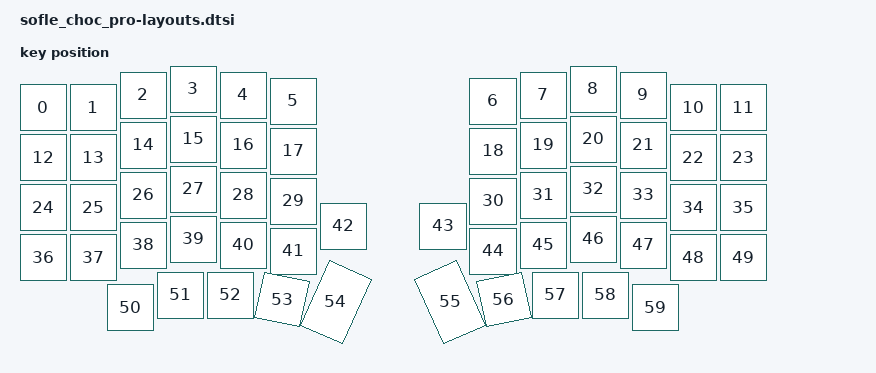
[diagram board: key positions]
#include <physical_layouts.dtsi>

/ {
    sofle_choc_pro_position_map {
        compatible = "zmk,physical-layout-position-map";
        complete;

        default_map: default_map {
            physical-layout = <&default_layout>;
            positions
                = < 0  1  2  3  4  5        6  7  8  9 10 11>
                , <12 13 14 15 16 17       18 19 20 21 22 23>
                , <24 25 26 27 28 29       30 31 32 33 34 35>
                , <36 37 38 39 40 41 42 43 44 45 46 47 48 49>
                , <      50 51 52 53 54 55 56 57 58 59      >;
        };
    };
};

/ {
    default_layout: default_layout {
        compatible = "zmk,physical-layout";
        display-name = "Default Layout";
        keys  //                     w   h    x    y     rot    rx    ry
            = <&key_physical_attrs 100 100    0   37       0     0     0>
            , <&key_physical_attrs 100 100  100   37       0     0     0>
            , <&key_physical_attrs 100 100  200   12       0     0     0>
            , <&key_physical_attrs 100 100  300    0       0     0     0>
            , <&key_physical_attrs 100 100  400   12       0     0     0>
            , <&key_physical_attrs 100 100  500   24       0     0     0>
            , <&key_physical_attrs 100 100  900   24       0     0     0>
            , <&key_physical_attrs 100 100 1000   12       0     0     0>
            , <&key_physical_attrs 100 100 1100    0       0     0     0>
            , <&key_physical_attrs 100 100 1200   12       0     0     0>
            , <&key_physical_attrs 100 100 1300   37       0     0     0>
            , <&key_physical_attrs 100 100 1400   37       0     0     0>
            , <&key_physical_attrs 100 100    0  137       0     0     0>
            , <&key_physical_attrs 100 100  100  137       0     0     0>
            , <&key_physical_attrs 100 100  200  112       0     0     0>
            , <&key_physical_attrs 100 100  300  100       0     0     0>
            , <&key_physical_attrs 100 100  400  112       0     0     0>
            , <&key_physical_attrs 100 100  500  124       0     0     0>
            , <&key_physical_attrs 100 100  900  124       0     0     0>
            , <&key_physical_attrs 100 100 1000  112       0     0     0>
            , <&key_physical_attrs 100 100 1100  100       0     0     0>
            , <&key_physical_attrs 100 100 1200  112       0     0     0>
            , <&key_physical_attrs 100 100 1300  137       0     0     0>
            , <&key_physical_attrs 100 100 1400  137       0     0     0>
            , <&key_physical_attrs 100 100    0  237       0     0     0>
            , <&key_physical_attrs 100 100  100  237       0     0     0>
            , <&key_physical_attrs 100 100  200  212       0     0     0>
            , <&key_physical_attrs 100 100  300  200       0     0     0>
            , <&key_physical_attrs 100 100  400  212       0     0     0>
            , <&key_physical_attrs 100 100  500  224       0     0     0>
            , <&key_physical_attrs 100 100  900  224       0     0     0>
            , <&key_physical_attrs 100 100 1000  212       0     0     0>
            , <&key_physical_attrs 100 100 1100  200       0     0     0>
            , <&key_physical_attrs 100 100 1200  212       0     0     0>
            , <&key_physical_attrs 100 100 1300  237       0     0     0>
            , <&key_physical_attrs 100 100 1400  237       0     0     0>
            , <&key_physical_attrs 100 100    0  337       0     0     0>
            , <&key_physical_attrs 100 100  100  337       0     0     0>
            , <&key_physical_attrs 100 100  200  312       0     0     0>
            , <&key_physical_attrs 100 100  300  300       0     0     0>
            , <&key_physical_attrs 100 100  400  312       0     0     0>
            , <&key_physical_attrs 100 100  500  324       0     0     0>
            , <&key_physical_attrs 100 100  600  274       0     0     0>
            , <&key_physical_attrs 100 100  800  274       0     0     0>
            , <&key_physical_attrs 100 100  900  324       0     0     0>
            , <&key_physical_attrs 100 100 1000  312       0     0     0>
            , <&key_physical_attrs 100 100 1100  300       0     0     0>
            , <&key_physical_attrs 100 100 1200  312       0     0     0>
            , <&key_physical_attrs 100 100 1300  337       0     0     0>
            , <&key_physical_attrs 100 100 1400  337       0     0     0>
            , <&key_physical_attrs 100 100  175  437       0     0     0>
            , <&key_physical_attrs 100 100  275  412       0     0     0>
            , <&key_physical_attrs 100 100  375  412       0     0     0>
            , <&key_physical_attrs 100 100  490  412    1200   490   412>
            , <&key_physical_attrs 100 150  600  383    2400   600   433>
            , <&key_physical_attrs 100 150  800  383 (-2400)   900   433>
            , <&key_physical_attrs 100 100  910  412 (-1200)  1010   412>
            , <&key_physical_attrs 100 100 1025  412       0     0     0>
            , <&key_physical_attrs 100 100 1125  412       0     0     0>
            , <&key_physical_attrs 100 100 1225  437       0     0     0>
            ;
    };
};
